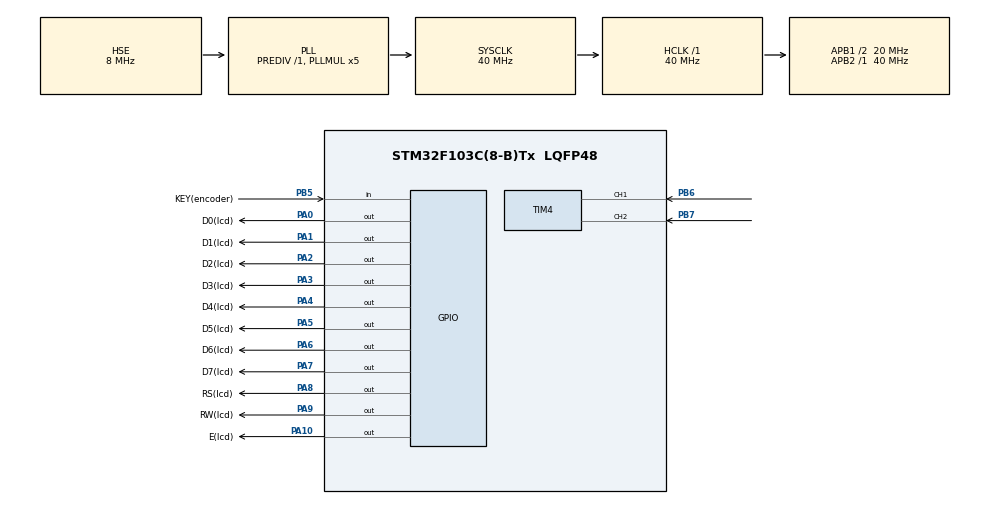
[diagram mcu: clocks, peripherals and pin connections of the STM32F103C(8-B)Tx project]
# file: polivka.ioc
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Mcu.Family=STM32F1
Mcu.Name=STM32F103C(8-B)Tx
Mcu.Package=LQFP48
NVIC.PriorityGroup=NVIC_PRIORITYGROUP_4
PA0-WKUP.GPIO_Label=D0(lcd)
PA0-WKUP.Signal=GPIO_Output
PA1.GPIO_Label=D1(lcd)
PA1.Signal=GPIO_Output
PA10.GPIO_Label=E(lcd)
PA10.Signal=GPIO_Output
PA13.Mode=Serial_Wire
PA13.Signal=SYS_JTMS-SWDIO
PA14.Mode=Serial_Wire
PA14.Signal=SYS_JTCK-SWCLK
PA2.GPIO_Label=D2(lcd)
PA2.Signal=GPIO_Output
PA3.GPIO_Label=D3(lcd)
PA3.Signal=GPIO_Output
PA4.GPIO_Label=D4(lcd)
PA4.Signal=GPIO_Output
PA5.GPIO_Label=D5(lcd)
PA5.Signal=GPIO_Output
PA6.GPIO_Label=D6(lcd)
PA6.Signal=GPIO_Output
PA7.GPIO_Label=D7(lcd)
PA7.Signal=GPIO_Output
PA8.GPIO_Label=RS(lcd)
PA8.Signal=GPIO_Output
PA9.GPIO_Label=RW(lcd)
PA9.Signal=GPIO_Output
PB5.GPIO_Label=KEY(encoder)
PB5.Signal=GPIO_Input
PB6.Signal=S_TIM4_CH1
PB7.Signal=S_TIM4_CH2
PD0-OSC_IN.Mode=HSE-External-Oscillator
PD0-OSC_IN.Signal=RCC_OSC_IN
PD1-OSC_OUT.Mode=HSE-External-Oscillator
PD1-OSC_OUT.Signal=RCC_OSC_OUT
ProjectManager.HeapSize=0x200
ProjectManager.StackSize=0x400
ProjectManager.TargetToolchain=MDK-ARM V5.32
RCC.AHBFreq_Value=40000000
RCC.APB1CLKDivider=RCC_HCLK_DIV2
RCC.APB1Freq_Value=20000000
RCC.APB1TimFreq_Value=40000000
RCC.APB2Freq_Value=40000000
RCC.APB2TimFreq_Value=40000000
RCC.HCLKFreq_Value=40000000
RCC.PLLMUL=RCC_PLL_MUL5
RCC.PLLSourceVirtual=RCC_PLLSOURCE_HSE
RCC.SYSCLKFreq_VALUE=40000000
RCC.SYSCLKSource=RCC_SYSCLKSOURCE_PLLCLK
RCC.USBFreq_Value=40000000
SH.S_TIM4_CH1.0=TIM4_CH1,Encoder_Interface
SH.S_TIM4_CH2.0=TIM4_CH2,Encoder_Interface
TIM4.EncoderMode=TIM_ENCODERMODE_TI12
TIM4.IC1Filter=15
TIM4.IC1Polarity=TIM_ICPOLARITY_RISING
TIM4.IC1Prescaler=TIM_ICPSC_DIV1
TIM4.IC2Filter=15
TIM4.IC2Polarity=TIM_ICPOLARITY_RISING
TIM4.IC2Prescaler=TIM_ICPSC_DIV1
board=custom

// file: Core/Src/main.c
/* USER CODE BEGIN Header */
/**
  ******************************************************************************
  * @file           : main.c
  * @brief          : Main program body
  ******************************************************************************
  * @attention
  *
  * Copyright (c) 2026 STMicroelectronics.
  * All rights reserved.
  *
  * This software is licensed under terms that can be found in the LICENSE file
  * in the root directory of this software component.
  * If no LICENSE file comes with this software, it is provided AS-IS.
  *
  ******************************************************************************
  */
/* USER CODE END Header */
#include "main.h"

/* USER CODE BEGIN Includes */
#include "lcd_functions.h"
#include <stdio.h>
/* USER CODE END Includes */

TIM_HandleTypeDef htim4;

/* USER CODE BEGIN PV */
int16_t ttt,current_count = 0;
int16_t last_count = 0;
int16_t position = 0;
/* USER CODE END PV */

void SystemClock_Config(void);
static void MX_GPIO_Init(void);
static void MX_TIM4_Init(void);

int main(void)
{

  /* MCU Configuration--------------------------------------------------------*/

  /* Reset of all peripherals, Initializes the Flash interface and the Systick. */
  HAL_Init();

  /* Configure the system clock */
  SystemClock_Config();

  /* Initialize all configured peripherals */
  MX_GPIO_Init();
  MX_TIM4_Init();
  /* USER CODE BEGIN 2 */

	LCD_INIT();
	HAL_TIM_Encoder_Start(&htim4, TIM_CHANNEL_ALL);

	uint8_t pos = 0;
	uint8_t period = 0;
	uint8_t duration = 0;
	uint16_t next_in = 0;

	char period_char[16];
	char duration_char[16];
	char next_in_char[16];

	LCD_MENU(&htim4);

  /* USER CODE END 2 */

  /* Infinite loop */
  /* USER CODE BEGIN WHILE */
  while (1)
  {
        pos = TIM4->CNT / 4;
        if (pos > 20)
					{
            __HAL_TIM_SET_COUNTER(&htim4, 15);
            pos = 3;
        }
				else if (pos > 3)
				{
            __HAL_TIM_SET_COUNTER(&htim4, 0);
            pos = 0;
        }
        switch(pos)
        {
            case 0: LCD_SET_CURSOR(1,1); break;
            case 1: LCD_SET_CURSOR(1,8); break;
            case 2: LCD_SET_CURSOR(2,1); break;
            case 3: LCD_SET_CURSOR(2,11); break;
        }
        if (BUTTON_CHECK(GPIOB, GPIO_PIN_5))
        {
            switch(pos)
            {
                case 0:
                    period = EDIT_VALUE(&htim4, "PERIOD", "HOURS", period);
                    break;
                case 1:
                    duration = EDIT_VALUE(&htim4, "DURATION", "MINUTES", duration);
                    break;
                case 2:
                    next_in = EDIT_VALUE(&htim4, "NEXT_IN", "MINUTES", next_in);
                    break;
                case 3:
                    LCD_CLEAR();
                    LCD_SET_CURSOR(1,1);
                    LCD_WR("FIRST_ONE");
                    LCD_SETTINGS(1,0,0);
                    uint8_t stop = LCD_TIMER(2,1, next_in/1440, (next_in/60)%24, next_in%60, 0);
                    if (stop == 0)
                    {
                        while (1)
                        {
                            LCD_CLEAR();
                            LCD_SET_CURSOR(1,1);
                            LCD_WR("PERIOD");
                            stop = LCD_TIMER(2,1, period/24, period%24, 0, 0);
                            if (stop == 1) break;
                            LCD_CLEAR();
                            LCD_SET_CURSOR(1,1);
                            LCD_WR("DURATION");
                            stop = LCD_TIMER(2,1, duration/1440, (duration/60)%24, duration%60, 0);
                            if (stop == 1) break;
                        }
                    }
                    break;
            }
            LCD_MENU(&htim4);
            __HAL_TIM_SET_COUNTER(&htim4, pos * 4);
        }
  }
  /* USER CODE END 3 */
}

void SystemClock_Config(void)
{
  RCC_OscInitTypeDef RCC_OscInitStruct = {0};
  RCC_ClkInitTypeDef RCC_ClkInitStruct = {0};

  /** Initializes the RCC Oscillators according to the specified parameters
  * in the RCC_OscInitTypeDef structure.
  */
  RCC_OscInitStruct.OscillatorType = RCC_OSCILLATORTYPE_HSE;
  RCC_OscInitStruct.HSEState = RCC_HSE_ON;
  RCC_OscInitStruct.HSEPredivValue = RCC_HSE_PREDIV_DIV1;
  RCC_OscInitStruct.HSIState = RCC_HSI_ON;
  RCC_OscInitStruct.PLL.PLLState = RCC_PLL_ON;
  RCC_OscInitStruct.PLL.PLLSource = RCC_PLLSOURCE_HSE;
  RCC_OscInitStruct.PLL.PLLMUL = RCC_PLL_MUL5;
  if (HAL_RCC_OscConfig(&RCC_OscInitStruct) != HAL_OK)
  {
    Error_Handler();
  }

  /** Initializes the CPU, AHB and APB buses clocks
  */
  RCC_ClkInitStruct.ClockType = RCC_CLOCKTYPE_HCLK|RCC_CLOCKTYPE_SYSCLK
                              |RCC_CLOCKTYPE_PCLK1|RCC_CLOCKTYPE_PCLK2;
  RCC_ClkInitStruct.SYSCLKSource = RCC_SYSCLKSOURCE_PLLCLK;
  RCC_ClkInitStruct.AHBCLKDivider = RCC_SYSCLK_DIV1;
  RCC_ClkInitStruct.APB1CLKDivider = RCC_HCLK_DIV2;
  RCC_ClkInitStruct.APB2CLKDivider = RCC_HCLK_DIV1;

  if (HAL_RCC_ClockConfig(&RCC_ClkInitStruct, FLASH_LATENCY_1) != HAL_OK)
  {
    Error_Handler();
  }
}

static void MX_TIM4_Init(void)
{

  TIM_Encoder_InitTypeDef sConfig = {0};
  TIM_MasterConfigTypeDef sMasterConfig = {0};

  htim4.Instance = TIM4;
  htim4.Init.Prescaler = 0;
  htim4.Init.CounterMode = TIM_COUNTERMODE_UP;
  htim4.Init.Period = 65535;
  htim4.Init.ClockDivision = TIM_CLOCKDIVISION_DIV1;
  htim4.Init.AutoReloadPreload = TIM_AUTORELOAD_PRELOAD_DISABLE;
  sConfig.EncoderMode = TIM_ENCODERMODE_TI12;
  sConfig.IC1Polarity = TIM_ICPOLARITY_RISING;
  sConfig.IC1Selection = TIM_ICSELECTION_DIRECTTI;
  sConfig.IC1Prescaler = TIM_ICPSC_DIV1;
  sConfig.IC1Filter = 15;
  sConfig.IC2Polarity = TIM_ICPOLARITY_RISING;
  sConfig.IC2Selection = TIM_ICSELECTION_DIRECTTI;
  sConfig.IC2Prescaler = TIM_ICPSC_DIV1;
  sConfig.IC2Filter = 15;
  if (HAL_TIM_Encoder_Init(&htim4, &sConfig) != HAL_OK)
  {
    Error_Handler();
  }
  sMasterConfig.MasterOutputTrigger = TIM_TRGO_RESET;
  sMasterConfig.MasterSlaveMode = TIM_MASTERSLAVEMODE_DISABLE;
  if (HAL_TIMEx_MasterConfigSynchronization(&htim4, &sMasterConfig) != HAL_OK)
  {
    Error_Handler();
  }

}

static void MX_GPIO_Init(void)
{
  GPIO_InitTypeDef GPIO_InitStruct = {0};

  /* GPIO Ports Clock Enable */
  __HAL_RCC_GPIOD_CLK_ENABLE();
  __HAL_RCC_GPIOA_CLK_ENABLE();
  __HAL_RCC_GPIOB_CLK_ENABLE();

  /*Configure GPIO pin Output Level */
  HAL_GPIO_WritePin(GPIOA, D0_Pin|D1_Pin|D2_Pin|D3_Pin
                          |D4_Pin|D5_Pin|D6_Pin|D7_Pin
                          |RS_Pin|RW_Pin|E_Pin, GPIO_PIN_RESET);

  /*Configure GPIO pins : D0_Pin D1_Pin D2_Pin D3_Pin
                           D4_Pin D5_Pin D6_Pin D7_Pin
                           RS_Pin RW_Pin E_Pin */
  GPIO_InitStruct.Pin = D0_Pin|D1_Pin|D2_Pin|D3_Pin
                          |D4_Pin|D5_Pin|D6_Pin|D7_Pin
                          |RS_Pin|RW_Pin|E_Pin;
  GPIO_InitStruct.Mode = GPIO_MODE_OUTPUT_PP;
  GPIO_InitStruct.Pull = GPIO_NOPULL;
  GPIO_InitStruct.Speed = GPIO_SPEED_FREQ_LOW;
  HAL_GPIO_Init(GPIOA, &GPIO_InitStruct);

  /*Configure GPIO pin : KEY_Pin */
  GPIO_InitStruct.Pin = KEY_Pin;
  GPIO_InitStruct.Mode = GPIO_MODE_INPUT;
  GPIO_InitStruct.Pull = GPIO_NOPULL;
  HAL_GPIO_Init(KEY_GPIO_Port, &GPIO_InitStruct);

}

void Error_Handler(void)
{
  __disable_irq();
  while (1)
  {
  }
}
